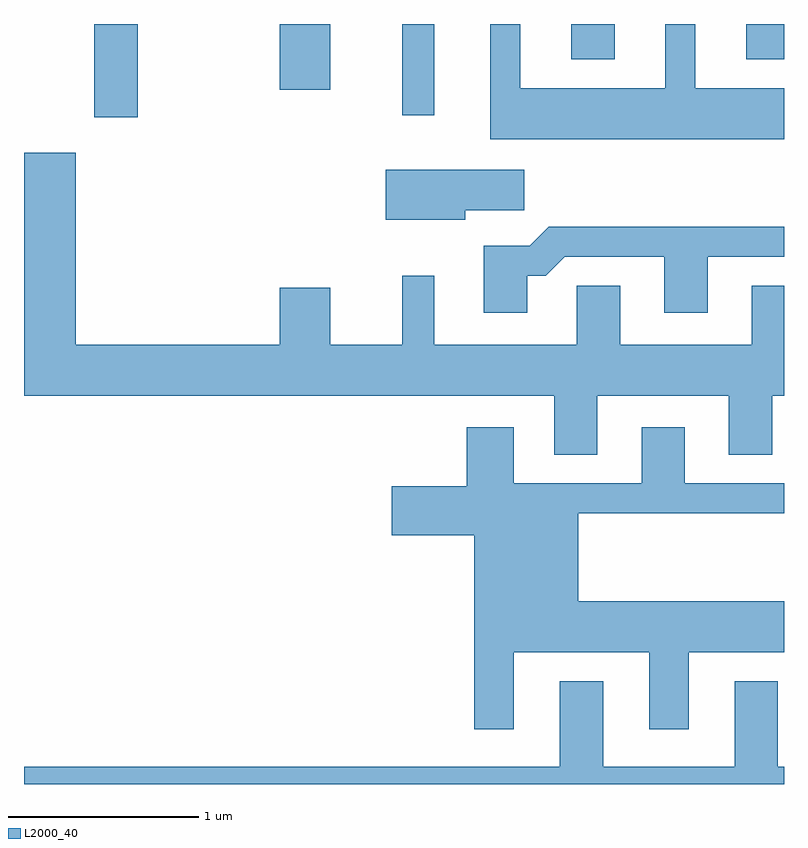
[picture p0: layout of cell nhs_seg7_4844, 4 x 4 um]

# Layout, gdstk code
import gdstk
lib = gdstk.Library(unit=1e-6, precision=1e-09)
def R(c, l, rs):  # rectangles x0, y0, x1, y1
    for r in rs: c.add(gdstk.rectangle(r[:2], r[2:], *l))
def P(c, l, *ps):  # polygons
    for p in ps: c.add(gdstk.Polygon(p, *l))
L2000_40 = (2000, 40)

nhs_seg7_4844 = lib.new_cell('nhs_seg7_4844')
R(nhs_seg7_4844, L2000_40, [(333.981,1735.761,334.209,1736.252), (335.601,1735.773,335.769,1736.252), (334.956,1735.906,335.224,1736.252), (336.491,1736.066,336.719,1736.252), (337.411,1736.066,337.611,1736.252)])
P(nhs_seg7_4844, L2000_40, [(337.611,1735.914),(337.144,1735.914),(337.144,1736.252),(336.986,1736.252),(336.986,1735.914),(336.224,1735.914),(336.224,1736.252),(336.066,1736.252),(336.066,1735.646),(337.611,1735.646)],
  [(336.629,1734.296),(337.321,1734.296),(337.321,1733.986),(337.549,1733.986),(337.549,1734.296),(337.611,1734.296),(337.611,1734.874),(337.441,1734.874),(337.441,1734.564),(336.749,1734.564),(336.749,1734.874),(336.521,1734.874),(336.521,1734.564),(335.769,1734.564),(335.769,1734.928),(335.601,1734.928),(335.601,1734.564),(335.224,1734.564),(335.224,1734.864),(334.956,1734.864),(334.956,1734.564),(333.884,1734.564),(333.884,1735.574),(333.611,1735.574),(333.611,1734.296),(336.401,1734.296),(336.401,1733.986),(336.629,1733.986)],
  [(335.934,1735.271),(336.244,1735.271),(336.244,1735.484),(335.516,1735.484),(335.516,1735.221),(335.934,1735.221)],
  [(336.259,1734.926),(336.357,1734.926),(336.457,1735.026),(336.981,1735.026),(336.981,1734.731),(337.209,1734.731),(337.209,1735.026),(337.611,1735.026),(337.611,1735.184),(336.374,1735.184),(336.274,1735.084),(336.031,1735.084),(336.031,1734.731),(336.259,1734.731)],
  [(336.189,1732.946),(336.901,1732.946),(336.901,1732.541),(337.109,1732.541),(337.109,1732.946),(337.611,1732.946),(337.611,1733.214),(336.529,1733.214),(336.529,1733.676),(337.611,1733.676),(337.611,1733.834),(337.089,1733.834),(337.089,1734.129),(336.861,1734.129),(336.861,1733.834),(336.189,1733.834),(336.189,1734.129),(335.941,1734.129),(335.941,1733.819),(335.546,1733.819),(335.546,1733.561),(335.981,1733.561),(335.981,1732.541),(336.189,1732.541)],
  [(337.611,1732.344),(337.579,1732.344),(337.579,1732.794),(337.351,1732.794),(337.351,1732.344),(336.659,1732.344),(336.659,1732.794),(336.431,1732.794),(336.431,1732.344),(333.611,1732.344),(333.611,1732.252),(337.611,1732.252)])

lib.write_gds('nhs_seg7_4844.gds')
